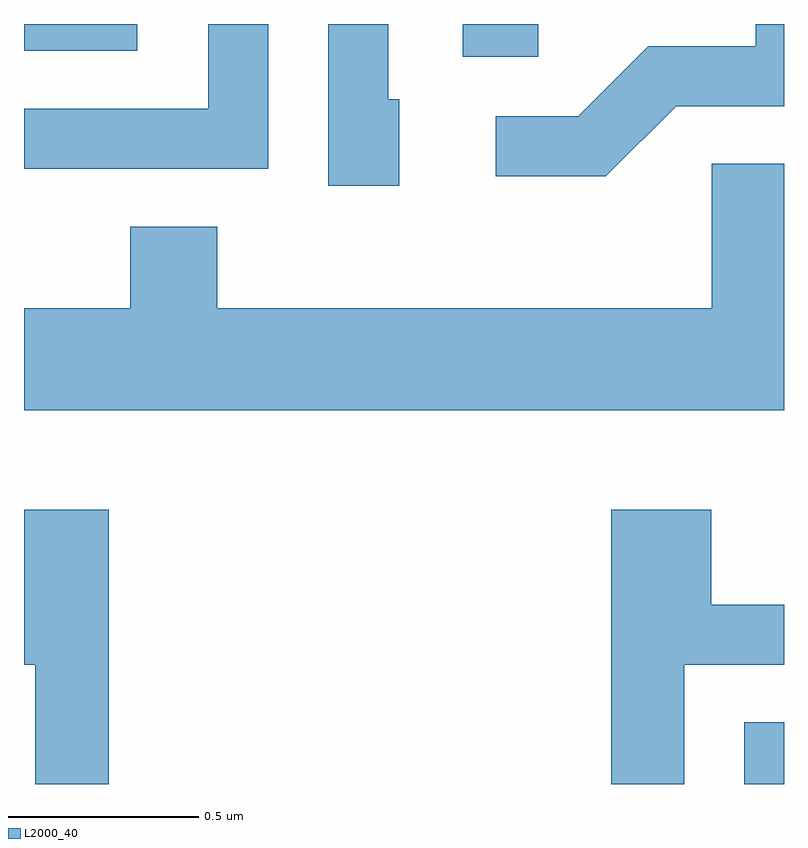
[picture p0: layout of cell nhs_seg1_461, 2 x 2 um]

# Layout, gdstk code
import gdstk
lib = gdstk.Library(unit=1e-6, precision=1e-09)
def R(c, l, rs):  # rectangles x0, y0, x1, y1
    for r in rs: c.add(gdstk.rectangle(r[:2], r[2:], *l))
def P(c, l, *ps):  # polygons
    for p in ps: c.add(gdstk.Polygon(p, *l))
L2000_40 = (2000, 40)

nhs_seg1_461 = lib.new_cell('nhs_seg1_461')
R(nhs_seg1_461, L2000_40, [(190.506,889.712,190.611,889.874), (189.766,891.626,189.964,891.712), (188.611,891.641,188.909,891.712)])
P(nhs_seg1_461, L2000_40, [(189.599,891.514),(189.569,891.514),(189.569,891.712),(189.411,891.712),(189.411,891.286),(189.599,891.286)],
  [(189.254,891.712),(189.096,891.712),(189.096,891.489),(188.611,891.489),(188.611,891.331),(189.254,891.331)],
  [(190.327,891.496),(190.611,891.496),(190.611,891.712),(190.536,891.712),(190.536,891.654),(190.254,891.654),(190.069,891.469),(189.853,891.469),(189.853,891.311),(190.142,891.311)],
  [(190.611,891.344),(190.421,891.344),(190.421,890.964),(189.119,890.964),(189.119,891.179),(188.891,891.179),(188.891,890.964),(188.611,890.964),(188.611,890.696),(190.611,890.696)],
  [(190.349,890.026),(190.611,890.026),(190.611,890.184),(190.419,890.184),(190.419,890.434),(190.156,890.434),(190.156,889.712),(190.349,889.712)],
  [(188.834,890.434),(188.611,890.434),(188.611,890.026),(188.641,890.026),(188.641,889.712),(188.834,889.712)])

lib.write_gds('nhs_seg1_461.gds')
